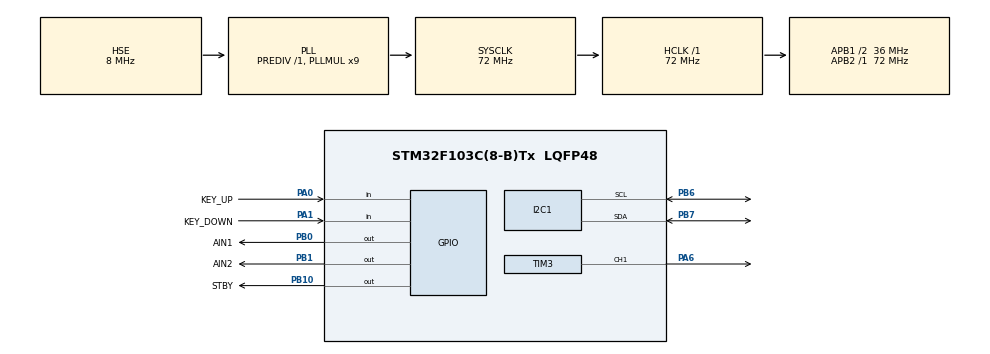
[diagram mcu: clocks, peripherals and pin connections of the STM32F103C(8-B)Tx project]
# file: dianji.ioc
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I2C1.I2C_Mode=I2C_Standard
Mcu.Family=STM32F1
Mcu.Name=STM32F103C(8-B)Tx
Mcu.Package=LQFP48
NVIC.PriorityGroup=NVIC_PRIORITYGROUP_4
PA0-WKUP.GPIO_Label=KEY_UP
PA0-WKUP.GPIO_PuPd=GPIO_PULLUP
PA0-WKUP.Signal=GPIO_Input
PA1.GPIO_Label=KEY_DOWN
PA1.GPIO_PuPd=GPIO_PULLUP
PA1.Signal=GPIO_Input
PA13.Mode=Serial_Wire
PA13.Signal=SYS_JTMS-SWDIO
PA14.Mode=Serial_Wire
PA14.Signal=SYS_JTCK-SWCLK
PA6.Signal=S_TIM3_CH1
PB0.GPIO_Label=AIN1
PB0.Signal=GPIO_Output
PB1.GPIO_Label=AIN2
PB1.Signal=GPIO_Output
PB10.GPIO_Label=STBY
PB10.Signal=GPIO_Output
PB6.Mode=I2C
PB6.Signal=I2C1_SCL
PB7.Mode=I2C
PB7.Signal=I2C1_SDA
PD0-OSC_IN.Mode=HSE-External-Oscillator
PD0-OSC_IN.Signal=RCC_OSC_IN
PD1-OSC_OUT.Mode=HSE-External-Oscillator
PD1-OSC_OUT.Signal=RCC_OSC_OUT
ProjectManager.HeapSize=0x200
ProjectManager.StackSize=0x400
ProjectManager.TargetToolchain=CMake
RCC.AHBFreq_Value=72000000
RCC.APB1CLKDivider=RCC_HCLK_DIV2
RCC.APB1Freq_Value=36000000
RCC.APB1TimFreq_Value=72000000
RCC.APB2Freq_Value=72000000
RCC.APB2TimFreq_Value=72000000
RCC.HCLKFreq_Value=72000000
RCC.PLLMUL=RCC_PLL_MUL9
RCC.PLLSourceVirtual=RCC_PLLSOURCE_HSE
RCC.SYSCLKFreq_VALUE=72000000
RCC.SYSCLKSource=RCC_SYSCLKSOURCE_PLLCLK
RCC.USBFreq_Value=72000000
SH.S_TIM3_CH1.0=TIM3_CH1,PWM Generation1 CH1
TIM3.AutoReloadPreload=TIM_AUTORELOAD_PRELOAD_ENABLE
TIM3.Channel-PWM\ Generation1\ CH1=TIM_CHANNEL_1
TIM3.Period=99
TIM3.Prescaler=71
VP_TIM3_VS_ClockSourceINT.Mode=Internal
board=custom

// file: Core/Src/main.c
/* USER CODE BEGIN Header */
/**
  ******************************************************************************
  * @file           : main.c
  * @brief          : Main program body
  ******************************************************************************
  * @attention
  *
  * Copyright (c) 2026 STMicroelectronics.
  * All rights reserved.
  *
  * This software is licensed under terms that can be found in the LICENSE file
  * in the root directory of this software component.
  * If no LICENSE file comes with this software, it is provided AS-IS.
  *
  ******************************************************************************
  */
/* USER CODE END Header */
#include "main.h"
#include "i2c.h"
#include "tim.h"
#include "gpio.h"

/* USER CODE BEGIN Includes */
#include "motor.h"
#include "oled.h"
/* USER CODE END Includes */

/* USER CODE BEGIN PV */
int16_t motor_speed = 0;  /* 当前速度百分比：0 ~ 100 */
/* USER CODE END PV */

void SystemClock_Config(void);

int main(void)
{

  /* MCU Configuration--------------------------------------------------------*/

  /* Reset of all peripherals, Initializes the Flash interface and the Systick. */
  HAL_Init();

  /* Configure the system clock */
  SystemClock_Config();

  /* Initialize all configured peripherals */
  MX_GPIO_Init();
  MX_TIM3_Init();
  MX_I2C1_Init();
  /* USER CODE BEGIN 2 */
  Motor_Init();
  if (OLED_Init() == 0)
  {
    /* OLED 无应答：电机短转 3 次作为故障指示 */
    for (uint8_t i = 0; i < 3; i++)
    {
      Motor_SetSpeed(40);
      HAL_Delay(300);
      Motor_SetSpeed(0);
      HAL_Delay(300);
    }
  }
  OLED_ShowSpeed(motor_speed);
  /* USER CODE END 2 */

  /* Infinite loop */
  while (1)
  {

    /* USER CODE BEGIN 3 */
    /* 按键扫描：KEY_UP 每次 +20%，KEY_DOWN 每次 -20%，带 20ms 软件消抖 */
    if (HAL_GPIO_ReadPin(KEY_UP_GPIO_Port, KEY_UP_Pin) == GPIO_PIN_RESET)
    {
      HAL_Delay(20);
      if (HAL_GPIO_ReadPin(KEY_UP_GPIO_Port, KEY_UP_Pin) == GPIO_PIN_RESET)
      {
        motor_speed += 20;
        if (motor_speed > 100) {
          motor_speed = 100;
        }
        Motor_SetSpeed(motor_speed);
        OLED_ShowSpeed(motor_speed);
        while (HAL_GPIO_ReadPin(KEY_UP_GPIO_Port, KEY_UP_Pin) == GPIO_PIN_RESET);
      }
    }
    if (HAL_GPIO_ReadPin(KEY_DOWN_GPIO_Port, KEY_DOWN_Pin) == GPIO_PIN_RESET)
    {
      HAL_Delay(20);
      if (HAL_GPIO_ReadPin(KEY_DOWN_GPIO_Port, KEY_DOWN_Pin) == GPIO_PIN_RESET)
      {
        motor_speed -= 20;
        if (motor_speed < 0) {
          motor_speed = 0;
        }
        Motor_SetSpeed(motor_speed);
        OLED_ShowSpeed(motor_speed);
        while (HAL_GPIO_ReadPin(KEY_DOWN_GPIO_Port, KEY_DOWN_Pin) == GPIO_PIN_RESET);
      }
    }
  }
  /* USER CODE END 3 */
}

void SystemClock_Config(void)
{
  RCC_OscInitTypeDef RCC_OscInitStruct = {0};
  RCC_ClkInitTypeDef RCC_ClkInitStruct = {0};

  /** Initializes the RCC Oscillators according to the specified parameters
  * in the RCC_OscInitTypeDef structure.
  */
  RCC_OscInitStruct.OscillatorType = RCC_OSCILLATORTYPE_HSE;
  RCC_OscInitStruct.HSEState = RCC_HSE_ON;
  RCC_OscInitStruct.HSEPredivValue = RCC_HSE_PREDIV_DIV1;
  RCC_OscInitStruct.HSIState = RCC_HSI_ON;
  RCC_OscInitStruct.PLL.PLLState = RCC_PLL_ON;
  RCC_OscInitStruct.PLL.PLLSource = RCC_PLLSOURCE_HSE;
  RCC_OscInitStruct.PLL.PLLMUL = RCC_PLL_MUL9;
  if (HAL_RCC_OscConfig(&RCC_OscInitStruct) != HAL_OK)
  {
    Error_Handler();
  }

  /** Initializes the CPU, AHB and APB buses clocks
  */
  RCC_ClkInitStruct.ClockType = RCC_CLOCKTYPE_HCLK|RCC_CLOCKTYPE_SYSCLK
                              |RCC_CLOCKTYPE_PCLK1|RCC_CLOCKTYPE_PCLK2;
  RCC_ClkInitStruct.SYSCLKSource = RCC_SYSCLKSOURCE_PLLCLK;
  RCC_ClkInitStruct.AHBCLKDivider = RCC_SYSCLK_DIV1;
  RCC_ClkInitStruct.APB1CLKDivider = RCC_HCLK_DIV2;
  RCC_ClkInitStruct.APB2CLKDivider = RCC_HCLK_DIV1;

  if (HAL_RCC_ClockConfig(&RCC_ClkInitStruct, FLASH_LATENCY_2) != HAL_OK)
  {
    Error_Handler();
  }
}

void Error_Handler(void)
{
  __disable_irq();
  while (1)
  {
  }
}
